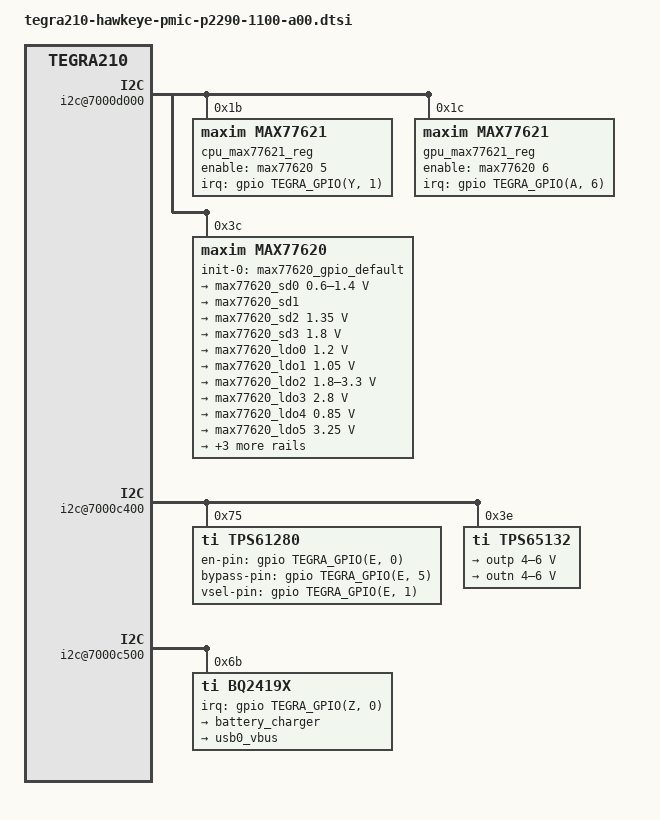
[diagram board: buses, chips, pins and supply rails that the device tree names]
/*
 * Copyright (c) 2014-2016, NVIDIA CORPORATION.  All rights reserved.
 *
 * This program is free software; you can redistribute it and/or modify
 * it under the terms of the GNU General Public License as published by
 * the Free Software Foundation; either version 2 of the License, or
 * (at your option) any later version.
 *
 * This program is distributed in the hope that it will be useful, but WITHOUT
 * ANY WARRANTY; without even the implied warranty of MERCHANTABILITY or
 * FITNESS FOR A PARTICULAR PURPOSE.  See the GNU General Public License for
 * more details.
 *
 * You should have received a copy of the GNU General Public License
 * along with this program.  If not, see <http://www.gnu.org/licenses/>.
 */

#include <dt-bindings/mfd/max77620.h>
#include <dt-bindings/regulator/regulator.h>
#include <dt-bindings/gpio/tegra-gpio.h>
#include <dt-bindings/thermal/thermal.h>
#include <dt-bindings/interrupt-controller/irq.h>
#include <dt-bindings/iio/meter/ina3221x.h>

/ {
	i2c@7000d000 {
		nvidia,bit-banging-xfer-after-shutdown;

		cpu_max77621_reg: max77621@1b {
			compatible = "maxim,max77621";
			reg = <0x1b>;
			interrupt-parent = <&gpio>;
			interrupts = <TEGRA_GPIO(Y, 1) IRQF_TRIGGER_FALLING>;
			regulator-name = "vdd-cpu";
			regulator-min-microvolt = <618750>;
			regulator-max-microvolt = <1400000>;
			regulator-max-microamp = <15000000>;
			regulator-n-voltages = <126>;
			regulator-ramp-delay = <12000>;
			regulator-enable-ramp-delay = <150>;
			regulator-disable-ramp-delay = <60000>;
			regulator-boot-on;
			regulator-always-on;
			#thermal-sensor-cells = <0>;
			maxim,enable-active-discharge;
			maxim,externally-enable;
			maxim,sleep-on-dvs;
			maxim,dvs-default-state = <1>;
			maxim,enable-gpio = <&max77620 5 0>;
		};

		gpu_max77621_reg: max77621@1c {
			compatible = "maxim,max77621";
			reg = <0x1c>;
			interrupt-parent = <&gpio>;
			interrupts = <TEGRA_GPIO(A, 6) IRQF_TRIGGER_FALLING>;
			regulator-name = "vdd-gpu";
			regulator-min-microvolt = <618750>;
			regulator-max-microvolt = <1400000>;
			regulator-max-microamp = <9000000>;
			regulator-init-microvolt = <1000000>;
			regulator-enable-ramp-delay = <200>;
			regulator-disable-ramp-delay = <2>;
			regulator-boot-off;
			regulator-ramp-delay = <12000>;
			#thermal-sensor-cells = <0>;
			maxim,enable-active-discharge;
			maxim,enable-bias-control;
			maxim,dvs-default-state = <1>;
			maxim,enable-gpio = <&max77620 6 0>;
		};

		max77620: max77620@3c {
			compatible = "maxim,max77620";
			reg = <0x3c>;
			interrupts = <0 86 IRQ_TYPE_NONE>;

			#interrupt-cells = <2>;
                        interrupt-controller;

			gpio-controller;
			#gpio-cells = <2>;

			maxim,enable-clock32k-out;

			maxim,system-pmic-power-off;

			maxim,hard-power-off-time = <12>;

			maxim,avoid-rtc-bulk-register-write;

			maxim,hot-die-threshold-temp = <110000>;
			#thermal-sensor-cells = <0>;

			pinctrl-names = "default";
			pinctrl-0 = <&max77620_default>;

			gpio-init-names = "default";
			gpio-init-0 = <&max77620_gpio_default>;

			max77620_default: pinmux@0 {
				pin_gpio0 {
					pins = "gpio0";
					function = "gpio";
				};

				pin_gpio1 {
					pins = "gpio1";
					function = "gpio";
					drive-push-pull = <1>;
					maxim,active-fps-source = <MAX77620_FPS_SRC_NONE>;
					maxim,active-fps-power-up-slot = <0>;
					maxim,active-fps-power-down-slot = <7>;
				};

				pin_gpio2 {
					pins = "gpio2";
					function = "fps-out";
					drive-open-drain = <1>;
					maxim,active-fps-source = <MAX77620_FPS_SRC_0>;
					maxim,active-fps-power-up-slot = <0>;
					maxim,active-fps-power-down-slot = <7>;
				};

				pin_gpio3 {
					pins = "gpio3";
					function = "fps-out";
					drive-open-drain = <1>;
					maxim,active-fps-source = <MAX77620_FPS_SRC_0>;
					maxim,active-fps-power-up-slot = <4>;
					maxim,active-fps-power-down-slot = <3>;
				};

				pin_gpio4 {
					pins = "gpio4";
					function = "32k-out1";
				};

				pin_gpio5_6_7 {
					pins = "gpio5", "gpio6", "gpio7";
					function = "gpio";
					drive-push-pull = <1>;
				};
			};

			max77620_gpio_default:gpio_default {
				gpio-output-high = <2 7>;
			};

			pmic_watchdog: watchdog {
				maxim,wdt-boot-timeout = <32>;
				maxim,wdt-suspend-timeout = <120>;
				maxim,wdt-suspend-enable-from-user;
				status = "disabled";
			};

			fps {
				#address-cells = <1>;
				#size-cells = <0>;
				fps0 {
					reg = <0>;
					maxim,shutdown-fps-time-period-us = <5120>;
					maxim,fps-event-source = <MAX77620_FPS_EVENT_SRC_EN0>;
				};

				fps1 {
					reg = <1>;
					maxim,shutdown-fps-time-period-us = <5120>;
					maxim,fps-event-source = <MAX77620_FPS_EVENT_SRC_EN1>;
					maxim,device-state-on-disabled-event = <MAX77620_FPS_INACTIVE_STATE_SLEEP>;
				};

				fps2 {
					reg = <2>;
					maxim,fps-event-source = <MAX77620_FPS_EVENT_SRC_EN0>;
				};
			};

			backup-battery {
				maxim,backup-battery-charging-current = <100>;
				maxim,backup-battery-charging-voltage = <3000000>;
				maxim,backup-battery-output-resister = <100>;
			};

			regulators {
				in-ldo0-1-supply = <&max77620_sd2>;
				in-ldo7-8-supply = <&max77620_sd2>;

				max77620_sd0: sd0 {
					regulator-name = "vdd_core";
					regulator-min-microvolt = <600000>;
					regulator-max-microvolt = <1400000>;
					regulator-boot-on;
					regulator-always-on;
					regulator-init-mode = <REGULATOR_MODE_NORMAL>;
					maxim,active-fps-source = <MAX77620_FPS_SRC_1>;
					maxim,active-fps-power-up-slot = <1>;
					maxim,active-fps-power-down-slot = <6>;
				};

				max77620_sd1: sd1 {
					regulator-name = "vddio-ddr";
					regulator-always-on;
					regulator-boot-on;
					regulator-init-mode = <REGULATOR_MODE_NORMAL>;
					maxim,active-fps-source = <MAX77620_FPS_SRC_0>;
					maxim,active-fps-power-up-slot = <5>;
					maxim,active-fps-power-down-slot = <2>;
				};

				max77620_sd2: sd2 {
					regulator-name = "vdd-pre-reg";
					regulator-min-microvolt = <1350000>;
					regulator-max-microvolt = <1350000>;
					regulator-always-on;
					regulator-boot-on;
					maxim,active-fps-source = <MAX77620_FPS_SRC_NONE>;
					maxim,active-fps-power-up-slot = <2>;
					maxim,active-fps-power-down-slot = <5>;
					maxim,shutdown-fps-source = <MAX77620_FPS_SRC_1>;
				};

				max77620_sd3: sd3 {
					regulator-name = "vdd-1v8";
					regulator-min-microvolt = <1800000>;
					regulator-max-microvolt = <1800000>;
					regulator-always-on;
					regulator-boot-on;
					regulator-init-mode = <REGULATOR_MODE_FAST>;
					regulator-sleep-mode = <REGULATOR_MODE_NORMAL>;
					maxim,active-fps-source = <MAX77620_FPS_SRC_0>;
					maxim,active-fps-power-up-slot = <3>;
					maxim,active-fps-power-down-slot = <4>;
				};

				max77620_ldo0: ldo0 {
					regulator-name = "avdd-sys";
					regulator-min-microvolt = <1200000>;
					regulator-max-microvolt = <1200000>;
					regulator-boot-on;
					regulator-always-on;
					maxim,active-fps-source = <MAX77620_FPS_SRC_NONE>;
					maxim,active-fps-power-up-slot = <0>;
					maxim,active-fps-power-down-slot = <7>;
					consumers {
						c1 {
							regulator-consumer-supply = "vddio_hsic";
							regulator-consumer-device = "tegra-ehci.1";
						};
					};
				};

				max77620_ldo1: ldo1 {
					regulator-name = "vdd-pex";
					regulator-min-microvolt = <1050000>;
					regulator-max-microvolt = <1050000>;
					regulator-always-on;
					maxim,active-fps-source = <MAX77620_FPS_SRC_1>;
					maxim,active-fps-power-up-slot = <0>;
					maxim,active-fps-power-down-slot = <7>;
					regulator-disable-on-shutdown;
				};

				max77620_ldo2: ldo2 {
					regulator-name = "vddio-sdmmc3";
					regulator-min-microvolt = <1800000>;
					regulator-max-microvolt = <3300000>;
					maxim,active-fps-source = <MAX77620_FPS_SRC_NONE>;
					maxim,active-fps-power-up-slot = <0>;
					maxim,active-fps-power-down-slot = <7>;
					regulator-disable-on-shutdown;
				};

				max77620_ldo3: ldo3 {
					regulator-name = "vdd-cam-hv";
					regulator-min-microvolt = <2800000>;
					regulator-max-microvolt = <2800000>;
					maxim,active-fps-source = <MAX77620_FPS_SRC_NONE>;
					maxim,active-fps-power-up-slot = <0>;
					maxim,active-fps-power-down-slot = <7>;
					regulator-disable-on-shutdown;
				};

				max77620_ldo4: ldo4 {
					regulator-name = "vdd-rtc";
					regulator-min-microvolt = <850000>;
					regulator-max-microvolt = <850000>;
					regulator-always-on;
					regulator-boot-on;
					maxim,active-fps-source = <MAX77620_FPS_SRC_0>;
					maxim,active-fps-power-up-slot = <1>;
					maxim,active-fps-power-down-slot = <6>;
					regulator-disable-on-shutdown;
				};

				max77620_ldo5: ldo5 {
					regulator-name = "avdd-ts-hv";
					regulator-min-microvolt = <3250000>;
					regulator-max-microvolt = <3250000>;
					maxim,active-fps-source = <MAX77620_FPS_SRC_NONE>;
					maxim,active-fps-power-up-slot = <0>;
					maxim,active-fps-power-down-slot = <7>;
					regulator-disable-on-shutdown;
				};

				max77620_ldo6: ldo6 {
					regulator-name = "vdd-ts";
					regulator-min-microvolt = <1800000>;
					regulator-max-microvolt = <1800000>;
					regulator-boot-on;
					maxim,active-fps-source = <MAX77620_FPS_SRC_NONE>;
					maxim,active-fps-power-up-slot = <0>;
					maxim,active-fps-power-down-slot = <7>;
					regulator-disable-on-shutdown;
				};

				max77620_ldo7: ldo7 {
					regulator-name = "vdd-gen-pll-edp";
					regulator-min-microvolt = <1050000>;
					regulator-max-microvolt = <1050000>;
					regulator-always-on;
					regulator-boot-on;
					maxim,active-fps-source = <MAX77620_FPS_SRC_1>;
					maxim,active-fps-power-up-slot = <3>;
					maxim,active-fps-power-down-slot = <4>;
				};

				max77620_ldo8: ldo8 {
					regulator-name = "vdd-hdmi-dp";
					regulator-min-microvolt = <1050000>;
					regulator-max-microvolt = <1050000>;
					regulator-boot-on;
					regulator-always-on;
					maxim,active-fps-source = <MAX77620_FPS_SRC_1>;
					maxim,active-fps-power-up-slot = <6>;
					maxim,active-fps-power-down-slot = <1>;
				};
			};
		};
	};

       i2c@7000c400 {
                tps61280: tps61280@75 {
                        reg = <0x75>;
                        compatible = "ti,tps61280";
                        status = "okay";
                        regulator-name = "vdd-modem";
                        regulator-min-microvolt = <3500000>;
                        regulator-max-microvolt = <4000000>;
                        regulator-init-microvolt = <3600000>;
                        regulator-min-microamp = <4500000>;
                        regulator-max-microamp = <4500000>;
                        regulator-boot-on;
                        regulator-always-on;
                        regulator-bypass-on;

                        ti,enable-en-pin-control;
                        ti,en-pin-gpio = <&gpio TEGRA_GPIO(E, 0) 0>;
                        ti,enable-bypass-pin-control;
                        ti,bypass-pin-gpio = <&gpio TEGRA_GPIO(E, 5) 0>;
                        ti,enable-vsel-controlled-mode;
                        ti,vsel-pin-gpio = <&gpio TEGRA_GPIO(E, 1) 0>;
                        #thermal-sensor-cells = <0>;
                };

		tps65132@3e {
			reg = <0x3e>;
			compatible = "ti,tps65132";
			status = "okay";
			outp {
				regulator-name = "outp";
				regulator-min-microvolt = <4000000>;
				regulator-max-microvolt = <6000000>;
				ti,enable-gpio = <&gpio TEGRA_GPIO(E, 2) 0>;
                		regulator-boot-on;
				ti,disable-active-discharge;
			};

			outn {
				regulator-name = "outn";
				regulator-min-microvolt = <4000000>;
				regulator-max-microvolt = <6000000>;
                		regulator-boot-on;
				ti,enable-gpio = <&gpio TEGRA_GPIO(E, 3) 0>;
			};
		};
        };

	i2c@7000c500 {
		bq2419x: battery-charger@6b {
			compatible = "ti,bq2419x";
			reg = <0x6b>;

			interrupt-parent = <&gpio>;
			interrupts = <TEGRA_GPIO(Z, 0) 0x0>;
			#extcon-cells = <1>;

			#thermal-sensor-cells = <0>;

			battery_charger: charger {
				status = "disabled";
				regulator-name = "batt_regulator";
				regulator-max-microamp = <3000000>;
				ti,disbale-suspend-during-charging;
				ti,charge-voltage-limit-millivolt = <4352>;
				ti,charge-term-current-limit-milliamp = <128>;
				ti,ir-comp-voltage-millivolt = <1>;
				ti,ir-comp-resister-ohm = <1>;
				ti,pre-charge-current-limit-milliamp = <256>;
				ti,thermal-regulation-threshold-degc = <120>;
				ti,soc-range = <50 60 70 80 85 90 95 101>;
				ti,input-voltage-soc-limit = <4200 4280 4360 4440 4520 4600 4680 4760>;
				ti,temp-range = <45 50>;
				ti,charge-thermal-voltage-limit = <4352 4200>;
				ti,charge-current-limit = <5200 2600>;
				ti,thermal-zone = "Battery";
				ti,temp-polling-time-sec = <20>;
				ti,watchdog-timeout = <160>;
			};

			usb0_vbus: vbus {
				regulator-name = "vbus_regulator";
				ti,otg-iusb-gpio = <&gpio TEGRA_GPIO(CC, 5) 0>;
			};
		};

		battery_gauge: battery-gauge@55 {
			status = "disabled";
			compatible = "ti,bq27441";
			reg = <0x55>;
			interrupt-parent = <&gpio>;
			interrupts = <TEGRA_GPIO(V, 3) 0x0>;
			ti,design-capacity = <5200>;
			ti,design-energy = <19760>;
			ti,taper-rate = <318>;
			ti,terminate-voltage = <2800>;
			ti,v-at-chg-term = <4340>;
			ti,cc-gain = <0x7F7806C9>;
			ti,cc-delta = <0x940D197A>;
			ti,qmax-cell = <16384>;
			ti,reserve-cap-mah = <200>;
			ti,tz-name = "Battery";
			io-channels = <&ina3221x INA3221_CHAN_INDEX(0, CURRENT, NORMAL)>;
			io-channel-names = "battery-current";
		};
	};

	dummy_cool_dev: dummy-cool-dev {
		compatible = "dummy-cooling-dev";
		#cooling-cells = <2>; /* min followed by max */
	};

	thermal-zones {
		PMIC-Die {
			polling-delay = <0>; /* milliseconds */
			polling-delay-passive = <0>; /* milliseconds */

			thermal-sensors = <&max77620>;
			trips {
				die_temp_thresh: hot-die {
					temperature = <120000>;
					type = "active";
					hysteresis = <0>;
				};
			};

			cooling-maps {
				map0 {
					trip = <&die_temp_thresh>;
					cooling-device = <&dummy_cool_dev THERMAL_NO_LIMIT
								THERMAL_NO_LIMIT>;
					contribution = <100>;
					cdev-type = "emergency-balanced";
				};
			};
		};

		PMIC-Die-max77621-0 {
			status = "disabled";
			polling-delay = <0>; /* milliseconds */
			polling-delay-passive = <0>; /* milliseconds */
			thermal-sensors = <&cpu_max77621_reg>;

			trips {
				die_temp_thresh_max77621_0: hot-die {
					temperature = <120000>;
					type = "active";
					hysteresis = <0>;
				};
			};

			cooling-maps {
				map0 {
					trip = <&die_temp_thresh_max77621_0>;
					cooling-device = <&dummy_cool_dev THERMAL_NO_LIMIT
								THERMAL_NO_LIMIT>;
					contribution = <100>;
					cdev-type = "emergency-balanced";
				};
			};
		};

		PMIC-Die-max77621-1 {
			status = "disabled";
			polling-delay = <0>; /* milliseconds */
			polling-delay-passive = <0>; /* milliseconds */
			thermal-sensors = <&gpu_max77621_reg>;

			trips {
				die_temp_thresh_max77621_1: hot-die {
					temperature = <120000>;
					type = "active";
					hysteresis = <0>;
				};
			};

			cooling-maps {
				map0 {
					trip = <&die_temp_thresh_max77621_1>;
					cooling-device = <&dummy_cool_dev THERMAL_NO_LIMIT
								THERMAL_NO_LIMIT>;
					contribution = <100>;
					cdev-type = "emergency-balanced";
				};
			};
		};

		PMIC-Die-tps61280 {
			status = "disabled";
			polling-delay = <0>; /* milliseconds */
			polling-delay-passive = <0>; /* milliseconds */
			thermal-sensors = <&tps61280>;

			trips {
				die_temp_thresh_tps61280: hot-die {
					temperature = <120000>;
					type = "active";
					hysteresis = <0>;
				};
			};

			cooling-maps {
				map0 {
					trip = <&die_temp_thresh_tps61280>;
					cooling-device = <&dummy_cool_dev THERMAL_NO_LIMIT
								THERMAL_NO_LIMIT>;
					contribution = <100>;
					cdev-type = "emergency-balanced";
				};
			};
		};

		Charger-Die {
			status = "disabled";
			polling-delay = <0>; /* milliseconds */
			polling-delay-passive = <0>; /* milliseconds */

			thermal-sensors = <&bq2419x>;
			trips {
				die_temp_thresh_chg: hot-die {
					temperature = <120000>;
					type = "active";
					hysteresis = <0>;
				};
			};

			cooling-maps {
				map0 {
					trip = <&die_temp_thresh_chg>;
					cooling-device = <&dummy_cool_dev THERMAL_NO_LIMIT
								THERMAL_NO_LIMIT>;
					contribution = <100>;
					cdev-type = "emergency-balanced";
				};
			};
		};
	};

	extcon {
		compatible = "simple-bus";
		device_type = "external-connection";
		#address-cells = <1>;
		#size-cells = <0>;
	};

	soft_wdt: soft_watchdog {
		compatible = "softdog-platform";
		status = "disabled";
	};
};
